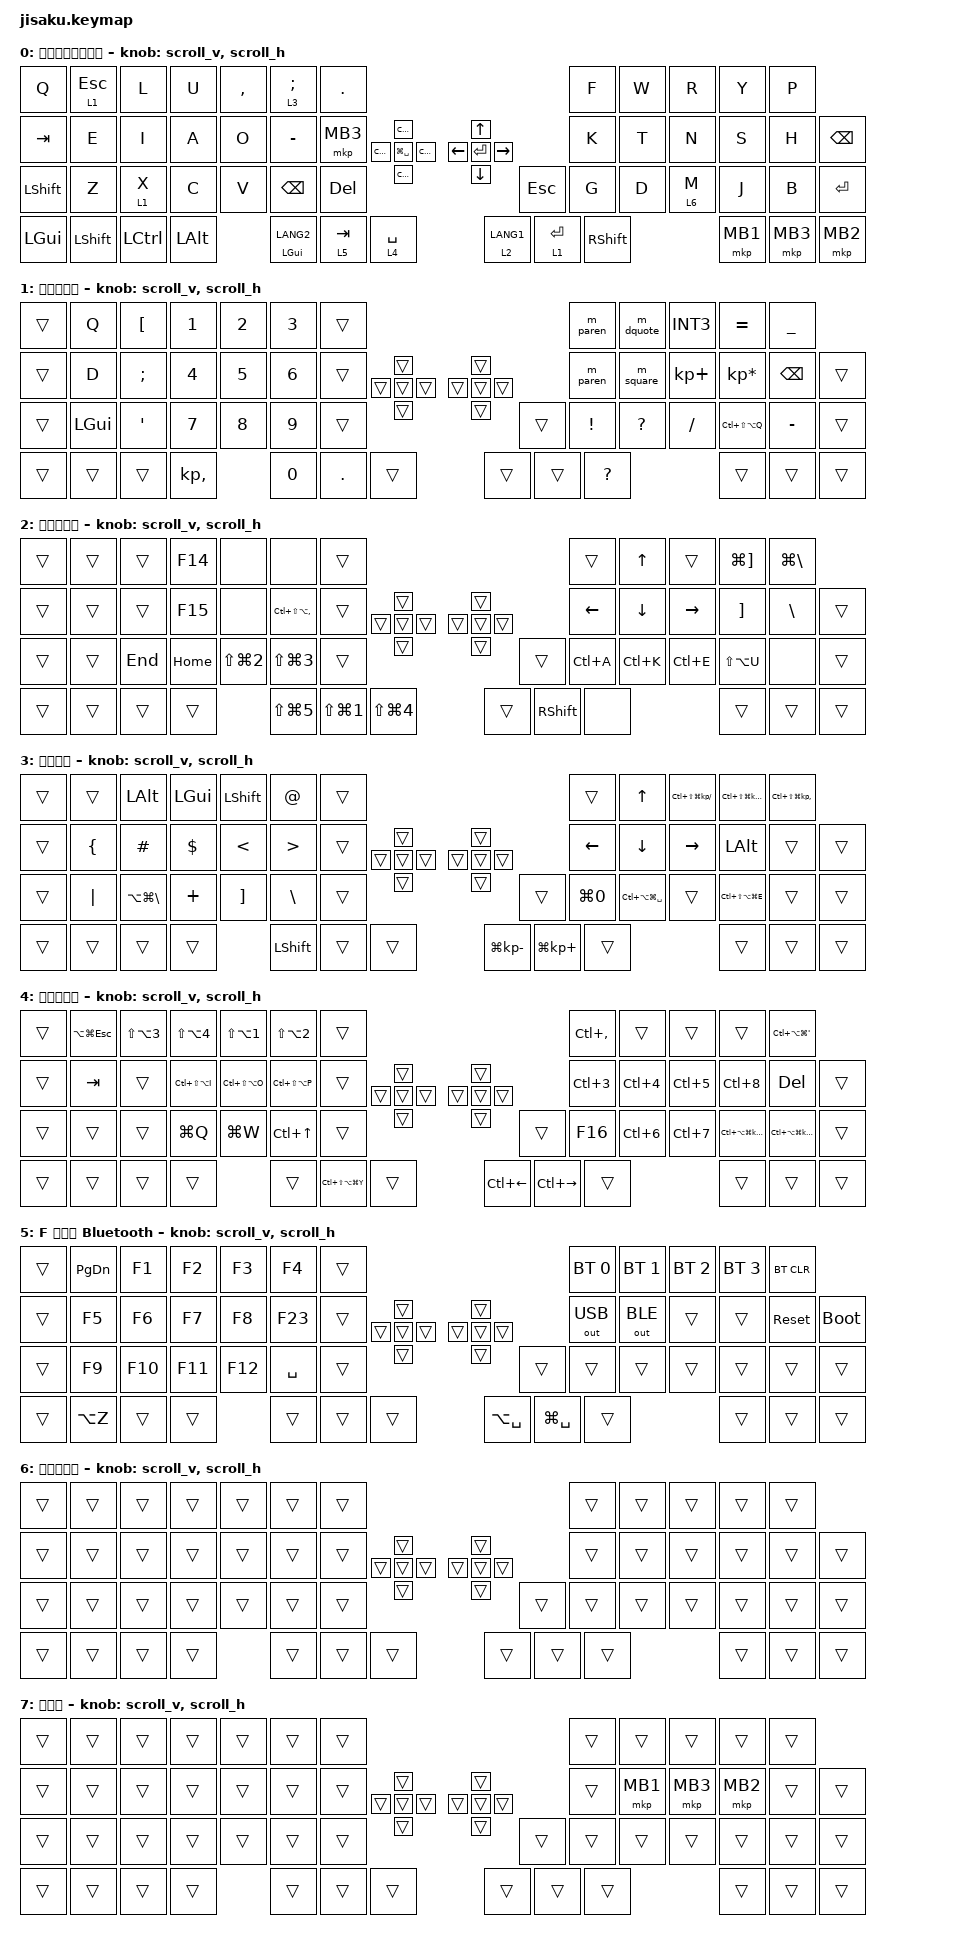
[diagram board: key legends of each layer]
/*
 * Jisaku v3.9 のキーマップ（2026-11-10 Claude が書いた最初の版）
 *
 * 元にした物: 4月の Keyball39 のキーマップ（~/qmk_firmware_old/keyboards/keyball/keyball39/keymaps/hiroyasu/keymap.c）
 *   と、Keyball39 の Remap の1枚目（大西配列）。層の番号と中身は Keyball39 と同じ並びにしてある。
 * 届いたら ZMK Studio（右手を USB でつないでブラウザで開く）で、ここを書き直さずに割り当てを変えられる。
 *
 * 並び（1行に左 → 右）:
 *   1行目  左 c1..c7 | 右 c1..c5
 *   2行目  左 c1..c7 | 右 c1..c6
 *   3行目  左 c1..c7 | 右 c0..c6
 *   4行目  左 c1 c2 c3 c4 c6 c7 c8 | 右 親指 t1 t2 t3・c4 c5 c6
 *   5行目  左の5方向キー FW1..FW5 | 右の5方向キー FW1..FW5（上・右・下・左・押し込み は仮。届いてから確かめる）
 * 左 c2..c6・右 c1..c5 の3行が Keyball39 の 5×3。左の c1 と c7・右の c0 と c6 と4行目の右3つは新しく増えた所（仮置き）。
 */

#include <behaviors.dtsi>
#include <dt-bindings/zmk/keys.h>
#include <dt-bindings/zmk/bt.h>
#include <dt-bindings/zmk/outputs.h>
#include <dt-bindings/zmk/pointing.h>

&lt {
    tapping-term-ms = <200>;
    quick-tap-ms = <150>;
};

&mt {
    flavor = "balanced";
    tapping-term-ms = <200>;
    quick-tap-ms = <150>;
};

/ {
    behaviors {
        /* ローラー（縦）と横回しホイール（横）でスクロール */
        scroll_v: scroll_v {
            compatible = "zmk,behavior-sensor-rotate";
            #sensor-binding-cells = <0>;
            bindings = <&msc SCRL_DOWN>, <&msc SCRL_UP>;
            tap-ms = <20>;
        };
        scroll_h: scroll_h {
            compatible = "zmk,behavior-sensor-rotate";
            #sensor-binding-cells = <0>;
            bindings = <&msc SCRL_RIGHT>, <&msc SCRL_LEFT>;
            tap-ms = <20>;
        };
    };

    macros {
        /* () を打って間に戻る（Keyball の MACRO_PAREN） */
        m_paren: m_paren {
            compatible = "zmk,behavior-macro";
            #binding-cells = <0>;
            bindings = <&kp LPAR &kp RPAR &kp LEFT>;
        };
        m_square: m_square {
            compatible = "zmk,behavior-macro";
            #binding-cells = <0>;
            bindings = <&kp LBKT &kp RBKT &kp LEFT>;
        };
        m_dquote: m_dquote {
            compatible = "zmk,behavior-macro";
            #binding-cells = <0>;
            bindings = <&kp DQT &kp DQT &kp LEFT>;
        };
    };

    /* Keyball の同時押し（QWERTY の位置で書かれていた J K・F D・S D を同じ位置に）。
       D F（やり直し）は F D（削除）と同じ2つのキーで、Keyball でも先に書いた削除しか出ていなかったので入れていない */
    combos {
        compatible = "zmk,combos";
        combo_esc {
            timeout-ms = <50>;
            key-positions = <20 21>;
            bindings = <&kp ESC>;
        };
        combo_del {
            timeout-ms = <50>;
            key-positions = <15 16>;
            bindings = <&kp DEL>;
        };
        combo_undo {
            timeout-ms = <50>;
            key-positions = <14 15>;
            bindings = <&kp LG(Z)>;
        };
    };

    keymap {
        compatible = "zmk,keymap";

        base_layer {
            display-name = "基本（大西配列）";
            bindings = <
  &kp Q                  &lt 1 ESC              &kp L                  &kp U                  &kp COMMA              &lt 3 SEMI             &kp DOT                  &kp F                  &kp W                  &kp R                  &kp Y                  &kp P
  &kp TAB                &kp E                  &kp I                  &kp A                  &kp O                  &kp MINUS              &mkp MB3                 &kp K                  &kp T                  &kp N                  &kp S                  &kp H                  &kp BSPC
  &kp LSHFT              &kp Z                  &lt 1 X                &kp C                  &kp V                  &kp BSPC               &kp DEL                  &kp ESC                &kp G                  &kp D                  &lt 6 M                &kp J                  &kp B                  &kp ENTER
  &kp LGUI               &kp LSHFT              &kp LCTRL              &kp LALT               &mt LGUI LANG2         &lt 5 TAB              &lt 4 SPACE              &lt 2 LANG1            &lt 1 ENTER            &kp RSHFT              &mkp MB1               &mkp MB3               &mkp MB2
  &kp LC(UP)             &kp LC(RIGHT)          &kp LC(DOWN)           &kp LC(LEFT)           &kp LG(SPACE)            &kp UP                 &kp RIGHT              &kp DOWN               &kp LEFT               &kp ENTER
            >;
            sensor-bindings = <&scroll_v &scroll_h>;
        };

        lower_layer {
            display-name = "数字・記号";
            bindings = <
  &trans                 &kp Q                  &kp LBKT               &kp N1                 &kp N2                 &kp N3                 &trans                   &m_paren               &m_dquote              &kp INT3               &kp EQUAL              &kp UNDER
  &trans                 &kp D                  &kp SEMI               &kp N4                 &kp N5                 &kp N6                 &trans                   &m_paren               &m_square              &kp KP_PLUS            &kp KP_MULTIPLY        &kp BSPC               &trans
  &trans                 &kp LGUI               &kp SQT                &kp N7                 &kp N8                 &kp N9                 &trans                   &trans                 &kp EXCL               &kp QMARK              &kp FSLH               &kp LC(LS(LA(Q)))      &kp MINUS              &trans
  &trans                 &trans                 &trans                 &kp KP_COMMA           &kp N0                 &kp DOT                &trans                   &trans                 &trans                 &kp QMARK              &trans                 &trans                 &trans
  &trans                 &trans                 &trans                 &trans                 &trans                   &trans                 &trans                 &trans                 &trans                 &trans
            >;
            sensor-bindings = <&scroll_v &scroll_h>;
        };

        nav_layer {
            display-name = "矢印・移動";
            bindings = <
  &trans                 &trans                 &trans                 &kp F14                &none                  &none                  &trans                   &trans                 &kp UP                 &trans                 &kp LG(RBKT)           &kp LG(BSLH)
  &trans                 &trans                 &trans                 &kp F15                &none                  &kp LC(LS(LA(COMMA)))  &trans                   &kp LEFT               &kp DOWN               &kp RIGHT              &kp RBKT               &kp BSLH               &trans
  &trans                 &trans                 &kp END                &kp HOME               &kp LS(LG(N2))         &kp LS(LG(N3))         &trans                   &trans                 &kp LC(A)              &kp LC(K)              &kp LC(E)              &kp LS(LA(U))          &none                  &trans
  &trans                 &trans                 &trans                 &trans                 &kp LS(LG(N5))         &kp LS(LG(N1))         &kp LS(LG(N4))           &trans                 &kp RSHFT              &none                  &trans                 &trans                 &trans
  &trans                 &trans                 &trans                 &trans                 &trans                   &trans                 &trans                 &trans                 &trans                 &trans
            >;
            sensor-bindings = <&scroll_v &scroll_h>;
        };

        special_layer {
            display-name = "記号と窓";
            bindings = <
  &trans                 &trans                 &kp LALT               &kp LGUI               &kp LSHFT              &kp AT                 &trans                   &trans                 &kp UP                 &kp LC(LS(LG(KP_SLASH))) &kp LC(LS(LG(KP_EQUAL))) &kp LC(LS(LG(KP_COMMA)))
  &trans                 &kp LBRC               &kp HASH               &kp DLLR               &kp LT                 &kp GT                 &trans                   &kp LEFT               &kp DOWN               &kp RIGHT              &kp LALT               &trans                 &trans
  &trans                 &kp PIPE               &kp LA(LG(BSLH))       &kp PLUS               &kp RBKT               &kp BSLH               &trans                   &trans                 &kp LG(N0)             &kp LC(LA(LG(SPACE)))  &trans                 &kp LC(LS(LA(LG(E))))  &trans                 &trans
  &trans                 &trans                 &trans                 &trans                 &kp LSHFT              &trans                 &trans                   &kp LG(KP_MINUS)       &kp LG(KP_PLUS)        &trans                 &trans                 &trans                 &trans
  &trans                 &trans                 &trans                 &trans                 &trans                   &trans                 &trans                 &trans                 &trans                 &trans
            >;
            sensor-bindings = <&scroll_v &scroll_h>;
        };

        macro_layer {
            display-name = "アプリと曲";
            bindings = <
  &trans                 &kp LA(LG(ESC))        &kp LS(LA(N3))         &kp LS(LA(N4))         &kp LS(LA(N1))         &kp LS(LA(N2))         &trans                   &kp LC(COMMA)          &trans                 &trans                 &trans                 &kp LC(LA(LG(SQT)))
  &trans                 &kp TAB                &trans                 &kp LC(LS(LA(I)))      &kp LC(LS(LA(O)))      &kp LC(LS(LA(P)))      &trans                   &kp LC(N3)             &kp LC(N4)             &kp LC(N5)             &kp LC(N8)             &kp DEL                &trans
  &trans                 &trans                 &trans                 &kp LG(Q)              &kp LG(W)              &kp LC(UP)             &trans                   &trans                 &kp F16                &kp LC(N6)             &kp LC(N7)             &kp LC(LA(LG(KP_N9)))  &kp LC(LA(LG(KP_N0)))  &trans
  &trans                 &trans                 &trans                 &trans                 &trans                 &kp LC(LS(LA(LG(Y))))  &trans                   &kp LC(LEFT)           &kp LC(RIGHT)          &trans                 &trans                 &trans                 &trans
  &trans                 &trans                 &trans                 &trans                 &trans                   &trans                 &trans                 &trans                 &trans                 &trans
            >;
            sensor-bindings = <&scroll_v &scroll_h>;
        };

        fkey_layer {
            display-name = "F キーと Bluetooth";
            bindings = <
  &trans                 &kp PG_DN              &kp F1                 &kp F2                 &kp F3                 &kp F4                 &trans                   &bt BT_SEL 0           &bt BT_SEL 1           &bt BT_SEL 2           &bt BT_SEL 3           &bt BT_CLR
  &trans                 &kp F5                 &kp F6                 &kp F7                 &kp F8                 &kp F23                &trans                   &out OUT_USB           &out OUT_BLE           &trans                 &trans                 &sys_reset             &bootloader
  &trans                 &kp F9                 &kp F10                &kp F11                &kp F12                &kp SPACE              &trans                   &trans                 &trans                 &trans                 &trans                 &trans                 &trans                 &trans
  &trans                 &kp LA(Z)              &trans                 &trans                 &trans                 &trans                 &trans                   &kp LA(SPACE)          &kp LG(SPACE)          &trans                 &trans                 &trans                 &trans
  &trans                 &trans                 &trans                 &trans                 &trans                   &trans                 &trans                 &trans                 &trans                 &trans
            >;
            sensor-bindings = <&scroll_v &scroll_h>;
        };

        scroll_layer {
            display-name = "スクロール";
            bindings = <
  &trans                 &trans                 &trans                 &trans                 &trans                 &trans                 &trans                   &trans                 &trans                 &trans                 &trans                 &trans
  &trans                 &trans                 &trans                 &trans                 &trans                 &trans                 &trans                   &trans                 &trans                 &trans                 &trans                 &trans                 &trans
  &trans                 &trans                 &trans                 &trans                 &trans                 &trans                 &trans                   &trans                 &trans                 &trans                 &trans                 &trans                 &trans                 &trans
  &trans                 &trans                 &trans                 &trans                 &trans                 &trans                 &trans                   &trans                 &trans                 &trans                 &trans                 &trans                 &trans
  &trans                 &trans                 &trans                 &trans                 &trans                   &trans                 &trans                 &trans                 &trans                 &trans
            >;
            sensor-bindings = <&scroll_v &scroll_h>;
        };

        mouse_layer {
            display-name = "マウス";
            bindings = <
  &trans                 &trans                 &trans                 &trans                 &trans                 &trans                 &trans                   &trans                 &trans                 &trans                 &trans                 &trans
  &trans                 &trans                 &trans                 &trans                 &trans                 &trans                 &trans                   &trans                 &mkp MB1               &mkp MB3               &mkp MB2               &trans                 &trans
  &trans                 &trans                 &trans                 &trans                 &trans                 &trans                 &trans                   &trans                 &trans                 &trans                 &trans                 &trans                 &trans                 &trans
  &trans                 &trans                 &trans                 &trans                 &trans                 &trans                 &trans                   &trans                 &trans                 &trans                 &trans                 &trans                 &trans
  &trans                 &trans                 &trans                 &trans                 &trans                   &trans                 &trans                 &trans                 &trans                 &trans
            >;
            sensor-bindings = <&scroll_v &scroll_h>;
        };
    };
};
